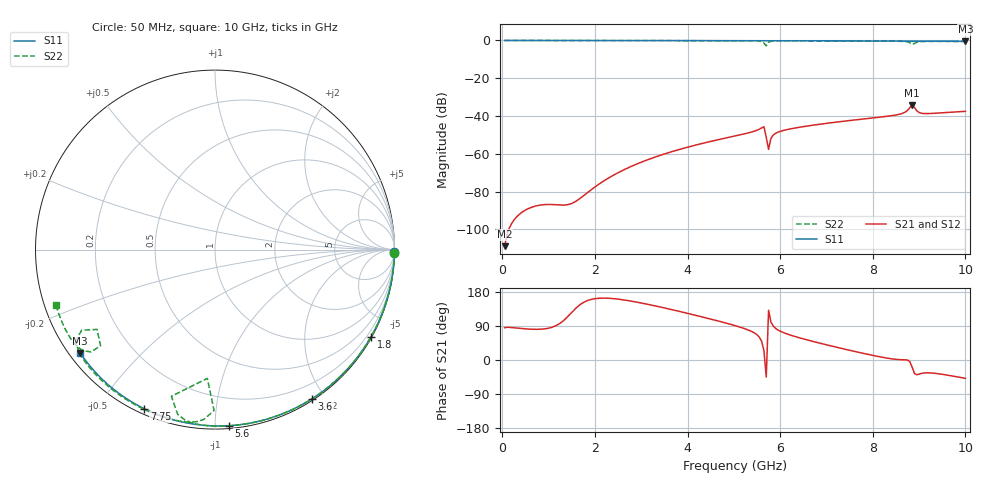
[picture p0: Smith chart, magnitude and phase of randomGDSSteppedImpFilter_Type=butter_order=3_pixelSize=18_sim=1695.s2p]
! freq	dB(S11)	phase(S11)	dB(S12)	phase(S12)
!  dB(S21)	phase(S21)	dB(S22)	phase(S22)
!S-par simulation data
#  GHz  S  DB  R 50
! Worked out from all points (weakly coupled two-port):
!   200 points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, 50 MHz to 10 GHz, reference 50 ohm
!   highest |S21| = -34.32 dB at 8.85 GHz (marker M1); lowest = -108.9 dB at 50 MHz (marker M2)
!   lowest |S11| = -0.5 dB at 10 GHz (marker M3), VSWR 36.16, Z = 1.54 - j17 ohm
!   |S11| at or under -10 dB: nowhere
!   |S22| runs from -2.9 to 0.0 dB; largest |S21 - S12| = 0
!   S11 on the Smith chart (normalised r, x): 50 MHz: open; 1.8 GHz: 0.03, -3.84; 3.6 GHz: 0.02, -1.84; 5.6 GHz: 0.02, -1.08; 7.75 GHz: 0.02, -0.65; 10 GHz: 0.03, -0.34
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0.05  -0.00 -0.8  -108.93 85.2  -108.93 85.2  -0.00 -0.9
1.75  -0.04 -28.4  -82.31 151.6  -82.31 151.6  -0.04 -32.2
1.8  -0.04 -29.2  -81.34 154.7  -81.34 154.7  -0.04 -33.1
1.9  -0.04 -30.8  -79.43 159.2  -79.43 159.2  -0.04 -34.9
2.6  -0.05 -41.7  -68.80 159.0  -68.80 159.0  -0.06 -47.3
3.4  -0.07 -53.9  -60.91 140.1  -60.91 140.1  -0.08 -61.1
3.6  -0.08 -56.9  -59.34 134.6  -59.34 134.6  -0.09 -64.5
5.05  -0.12 -77.9  -50.44 89.9  -50.44 89.9  -0.14 -88.8
5.6  -0.14 -85.6  -46.32 49.5  -46.32 49.5  -0.53 -102.8
5.65  -0.14 -86.3  -45.70 24.5  -45.70 24.5  -1.39 -106.5
5.7  -0.15 -87.0  -51.32 -44.8  -51.32 -44.8  -2.87 -93.4
5.75  -0.15 -87.6  -57.70 131.3  -57.70 131.3  -0.95 -90.3
5.8  -0.15 -88.3  -51.90 100.4  -51.90 100.4  -0.46 -93.8
5.9  -0.15 -89.7  -49.21 83.7  -49.21 83.7  -0.26 -97.8
6.7  -0.19 -100.4  -44.90 49.3  -44.90 49.3  -0.23 -112.3
7.75  -0.26 -114.0  -41.71 18.7  -41.71 18.7  -0.30 -128.4
8.35  -0.31 -121.6  -40.03 4.2  -40.03 4.2  -0.37 -137.9
8.75  -0.35 -126.6  -37.02 -0.2  -37.02 -0.2  -0.77 -147.2
8.85  -0.35 -127.9  -34.32 -18.8  -34.32 -18.8  -2.01 -145.9
8.95  -0.36 -129.2  -37.21 -38.9  -37.21 -38.9  -0.96 -140.5
9.1  -0.38 -131.1  -38.70 -34.4  -38.70 -34.4  -0.55 -145.0
10  -0.48 -142.5  -37.52 -48.4  -37.52 -48.4  -0.55 -160.6
